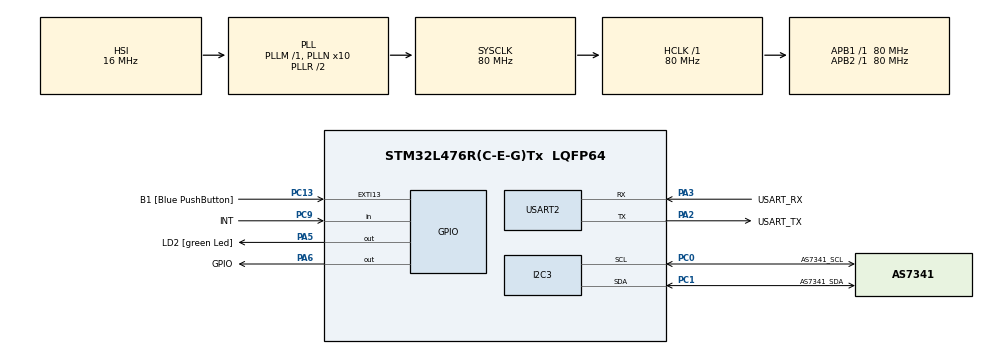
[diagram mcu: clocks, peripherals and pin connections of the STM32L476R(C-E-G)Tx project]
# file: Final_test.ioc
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I2C3.Timing=0x10909CEC
Mcu.Family=STM32L4
Mcu.Name=STM32L476R(C-E-G)Tx
Mcu.Package=LQFP64
NVIC.EXTI15_10_IRQn=true\:0\:0\:false\:false\:true\:true\:true\:true
NVIC.PriorityGroup=NVIC_PRIORITYGROUP_4
NVIC.TIM1_UP_TIM16_IRQn=true\:0\:0\:false\:false\:true\:true\:true\:true
PA13\ (JTMS-SWDIO).GPIO_Label=TMS
PA13\ (JTMS-SWDIO).Mode=Serial_Wire
PA13\ (JTMS-SWDIO).Signal=SYS_JTMS-SWDIO
PA14\ (JTCK-SWCLK).GPIO_Label=TCK
PA14\ (JTCK-SWCLK).Mode=Serial_Wire
PA14\ (JTCK-SWCLK).Signal=SYS_JTCK-SWCLK
PA2.GPIO_Label=USART_TX
PA2.GPIO_Mode=GPIO_MODE_AF_PP
PA2.GPIO_PuPd=GPIO_NOPULL
PA2.GPIO_Speed=GPIO_SPEED_FREQ_VERY_HIGH
PA2.Mode=Asynchronous
PA2.Signal=USART2_TX
PA3.GPIO_Label=USART_RX
PA3.GPIO_Mode=GPIO_MODE_AF_PP
PA3.GPIO_PuPd=GPIO_NOPULL
PA3.GPIO_Speed=GPIO_SPEED_FREQ_VERY_HIGH
PA3.Mode=Asynchronous
PA3.Signal=USART2_RX
PA5.GPIO_Label=LD2 [green Led]
PA5.GPIO_ModeDefaultOutputPP=GPIO_MODE_OUTPUT_PP
PA5.GPIO_PuPd=GPIO_NOPULL
PA5.GPIO_Speed=GPIO_SPEED_FREQ_LOW
PA5.Signal=GPIO_Output
PA6.GPIO_Label=GPIO
PA6.Signal=GPIO_Output
PB3\ (JTDO-TRACESWO).GPIO_Label=SWO
PB3\ (JTDO-TRACESWO).Signal=SYS_JTDO-SWO
PC0.GPIO_Label=AS7341_SCL
PC0.Mode=I2C
PC0.Signal=I2C3_SCL
PC1.GPIO_Label=AS7341_SDA
PC1.Mode=I2C
PC1.Signal=I2C3_SDA
PC13.GPIO_Label=B1 [Blue PushButton]
PC13.GPIO_ModeDefaultEXTI=GPIO_MODE_IT_FALLING
PC13.GPIO_PuPd=GPIO_NOPULL
PC13.Signal=GPXTI13
PC14-OSC32_IN\ (PC14).Mode=LSE-External-Oscillator
PC14-OSC32_IN\ (PC14).Signal=RCC_OSC32_IN
PC15-OSC32_OUT\ (PC15).Mode=LSE-External-Oscillator
PC15-OSC32_OUT\ (PC15).Signal=RCC_OSC32_OUT
PC9.GPIO_Label=INT
PC9.Signal=GPIO_Input
PH0-OSC_IN\ (PH0).Signal=RCC_OSC_IN
PH1-OSC_OUT\ (PH1).Signal=RCC_OSC_OUT
ProjectManager.HeapSize=0x200
ProjectManager.StackSize=0x400
ProjectManager.TargetToolchain=STM32CubeIDE
RCC.ADCFreq_Value=64000000
RCC.AHBFreq_Value=80000000
RCC.APB1Freq_Value=80000000
RCC.APB1TimFreq_Value=80000000
RCC.APB2Freq_Value=80000000
RCC.APB2TimFreq_Value=80000000
RCC.CortexFreq_Value=80000000
RCC.HCLKFreq_Value=80000000
RCC.HSE_VALUE=8000000
RCC.HSI_VALUE=16000000
RCC.MSI_VALUE=4000000
RCC.PLLN=10
RCC.PLLSourceVirtual=RCC_PLLSOURCE_HSI
RCC.PREFETCH_ENABLE=1
RCC.SYSCLKFreq_VALUE=80000000
RCC.SYSCLKSource=RCC_SYSCLKSOURCE_PLLCLK
RCC.USART2CLockSelection=RCC_USART2CLKSOURCE_SYSCLK
RCC.USBFreq_Value=64000000
RCC.VCOOutputFreq_Value=160000000
TIM16.Period=10000-1
TIM16.Prescaler=40000-1
USART2.VirtualMode-Asynchronous=VM_ASYNC
VP_TIM16_VS_ClockSourceINT.Mode=Enable_Timer
board=NUCLEO-L476RG

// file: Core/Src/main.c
/* USER CODE BEGIN Header */
/**
  ******************************************************************************
  * @file           : main.c
  * @brief          : Main program body
  ******************************************************************************
  * @attention
  *
  * Copyright (c) 2023 STMicroelectronics.
  * All rights reserved.
  *
  * This software is licensed under terms that can be found in the LICENSE file
  * in the root directory of this software component.
  * If no LICENSE file comes with this software, it is provided AS-IS.
  *
  ******************************************************************************
  */
/* USER CODE END Header */
#include "main.h"
#include "i2c.h"
#include "tim.h"
#include "usart.h"
#include "gpio.h"

/* USER CODE BEGIN Includes */

#include "inttypes.h"
#include "string.h"
#include "stdio.h"
#include <stdbool.h>

#include "Waveshare_AS7341.h"
#include "DEV_Config.h"

#include "Config_Parameters.h"

/* USER CODE END Includes */

/* USER CODE BEGIN PV */

//uint16_t t_meas;
//uint16_t t_int;
//uint8_t gain;
uint8_t ATIME;
uint16_t ASTEP;

int start_meas, start_meas2, end_meas, tot_meas;
/* USER CODE END PV */

void SystemClock_Config(void);
/* USER CODE BEGIN PFP */

void AS7341_Start();
void AS7341_EnableSleepAfterInterrupt(int flag);
void AS7341_ClearStatus();

/* USER CODE END PFP */

/* USER CODE BEGIN 0 */

#ifdef __GNUC__
#define PUTCHAR_PROTOTYPE int __io_putchar(int ch)
#else
#define PUTCHAR_PROTOTYPE int fputc(int ch, FILE *f)
#endif

PUTCHAR_PROTOTYPE
{
  HAL_UART_Transmit(&huart2, (uint8_t *)&ch, 1, HAL_MAX_DELAY);
  return ch;
}

/* USER CODE END 0 */

int main(void)
{

  /* MCU Configuration--------------------------------------------------------*/

  /* Reset of all peripherals, Initializes the Flash interface and the Systick. */
  HAL_Init();

  /* Configure the system clock */
  SystemClock_Config();

  /* Initialize all configured peripherals */
  MX_GPIO_Init();
  MX_USART2_UART_Init();
  MX_TIM16_Init();
  MX_I2C3_Init();
  /* USER CODE BEGIN 2 */

  HAL_TIM_Base_Start_IT(&htim16);

//  t_meas = 5000; 	//ms, set time between measurements. Options are: 100, 500, 1000, 5000, 10000
//  t_int = 10; 		//ms, set integration time of sensor. Options are: 10, 20, 50, 100, 200, 500, 1000, 2000, else default to 50ms
//  gain = 6; 		// [Value: Gain] = [0: 0.5x, 1:1x, 2:2x, 3:4x, 4:8x, 5:16x, 7:64x, 8:128x, 9:256x, 10:512x

//  if (t_int>t_meas)
//  {
//#define t_meas = 100;
//	  t_int = 50;
//	  printf("t_int>t_meas\r\n");
//  }

  //  AS7341_Start(eSyns, true, t_int, gain, false); //void AS7341_Start(eMode_t MODE, bool INT, uint16_t t_int, uint8_t AGAIN, bool LED);
  AS7341_Start();
  printf("Integration Time: %d \r\nMeasurement Time: %d\r\n",t_int,t_meas);

  printf("Time,Channel1,Channel2,Channel3,Channel4,Channel5,Channel6,Channel7,Channel8,Clear,NIR,t_int,t_meas\r\n");
  /* USER CODE END 2 */

  /* Infinite loop */
  /* USER CODE BEGIN WHILE */
  printf("HI");
  while (1)
  {
    /* USER CODE END WHILE */

    /* USER CODE BEGIN 3 */
//		uint8_t data = I2C_Read_Byte(AS7341_ATIME);
//		printf("ATIME %d\r\n",data);
//		data = I2C_Read_Byte(AS7341_ASTEP_L);
//		printf("ASTEP_L %d\r\n",data);
//		data = I2C_Read_Byte(AS7341_ASTEP_H);
//		printf("ASTEP_H %d\r\n",data);

	  	sModeOneData_t data1;
		sModeTwoData_t data2;

		AS7341_ClearInterrupt();// Interrupt must be cleared

//		start_meas = HAL_GetTick();
		AS7341_startMeasure(eF1F4ClearNIR);
//		start_meas2 = HAL_GetTick();
		AS7341_startMeasure(eF5F8ClearNIR);

		while(!AS7341_MeasureComplete()); // wait for measurement to finish
//		end_meas = HAL_GetTick();
//		tot_meas = end_meas- start_meas;
//		printf("Total measurement time: %d\r\n", tot_meas);
//		tot_meas = end_meas- start_meas2;
//		printf("Total measurement time 2: %d\r\n", tot_meas);
		data1 = AS7341_ReadSpectralDataOne();
		data2 =AS7341_ReadSpectralDataTwo();
		printf("%d,%d,%d,%d,%d,%d,%d,%d,%d,%d,%d,%d \r\n", data1.channel1, data1.channel2, data1.channel3, data1.channel4, data2.channel5, data2.channel6, data2.channel7, data2.channel8, data2.CLEAR, data2.NIR, t_int, t_meas);
//		end_meas = HAL_GetTick();
//		tot_meas = end_meas- start_meas;
//		printf("Total measurement and transmission time: %d\r\n", tot_meas);
//		printf("------------------------------------------------------\r\n");
  }
  /* USER CODE END 3 */
}

void SystemClock_Config(void)
{
  RCC_OscInitTypeDef RCC_OscInitStruct = {0};
  RCC_ClkInitTypeDef RCC_ClkInitStruct = {0};

  /** Configure the main internal regulator output voltage
  */
  if (HAL_PWREx_ControlVoltageScaling(PWR_REGULATOR_VOLTAGE_SCALE1) != HAL_OK)
  {
    Error_Handler();
  }

  /** Initializes the RCC Oscillators according to the specified parameters
  * in the RCC_OscInitTypeDef structure.
  */
  RCC_OscInitStruct.OscillatorType = RCC_OSCILLATORTYPE_HSI;
  RCC_OscInitStruct.HSIState = RCC_HSI_ON;
  RCC_OscInitStruct.HSICalibrationValue = RCC_HSICALIBRATION_DEFAULT;
  RCC_OscInitStruct.PLL.PLLState = RCC_PLL_ON;
  RCC_OscInitStruct.PLL.PLLSource = RCC_PLLSOURCE_HSI;
  RCC_OscInitStruct.PLL.PLLM = 1;
  RCC_OscInitStruct.PLL.PLLN = 10;
  RCC_OscInitStruct.PLL.PLLP = RCC_PLLP_DIV7;
  RCC_OscInitStruct.PLL.PLLQ = RCC_PLLQ_DIV2;
  RCC_OscInitStruct.PLL.PLLR = RCC_PLLR_DIV2;
  if (HAL_RCC_OscConfig(&RCC_OscInitStruct) != HAL_OK)
  {
    Error_Handler();
  }

  /** Initializes the CPU, AHB and APB buses clocks
  */
  RCC_ClkInitStruct.ClockType = RCC_CLOCKTYPE_HCLK|RCC_CLOCKTYPE_SYSCLK
                              |RCC_CLOCKTYPE_PCLK1|RCC_CLOCKTYPE_PCLK2;
  RCC_ClkInitStruct.SYSCLKSource = RCC_SYSCLKSOURCE_PLLCLK;
  RCC_ClkInitStruct.AHBCLKDivider = RCC_SYSCLK_DIV1;
  RCC_ClkInitStruct.APB1CLKDivider = RCC_HCLK_DIV1;
  RCC_ClkInitStruct.APB2CLKDivider = RCC_HCLK_DIV1;

  if (HAL_RCC_ClockConfig(&RCC_ClkInitStruct, FLASH_LATENCY_4) != HAL_OK)
  {
    Error_Handler();
  }
}

/* USER CODE BEGIN 4 */

/******************************************************************************
function:	Configure AS7341
info：		Set the sensing mode, enable or disable interrupts, set integration
			time, sensor gain and enable/disable LED.
******************************************************************************/
void AS7341_Start()
{
	printf("Configuring AS7341");
	DEV_ModuleInit();

	AS7341_Init(MODE);
	AS7341_EnableSpectralInterrupt(INT);
	AS7341_AGAIN_config(AGAIN);
	AS7341_EnableLED(LED);

	//t_int = (ATIME + 1)*(ASTEP + 1)*2.78e-6
	//max t_int = 50s
	switch(t_int)
	{
	case 10:
		ATIME = 29;
		ASTEP = 119;
		break;
	case 20:
		ATIME = 29;
		ASTEP = 239;
		break;
	case 50:
		ATIME = 29;
		ASTEP = 599;
		break;
	case 100:
		ATIME = 59;
		ASTEP = 599;
		break;
	case 200:
		ATIME = 59;
		ASTEP = 1198;
		break;
	case 500:
		ATIME = 59;
		ASTEP = 2997;
		break;
	case 1000:
		ATIME = 39;
		ASTEP = 8992;
		break;
	case 2000:
		ATIME = 29;
		ASTEP = 23980;
		break;
	default:
		ATIME = 29;
		ASTEP = 599;
		break;
	}

	AS7341_ATIME_config(ATIME);
	AS7341_ASTEP_config(ASTEP);
	printf("Configuring AS7341 done\r\n ------------------------\r\n");
}

/******************************************************************************
function:	clear status
info：		This register is self-clearing, meaning that writing a "1" to any bit in the
	register clears that status bit.
******************************************************************************/
void AS7341_ClearStatus()
{

//  I2C_Write_Byte(AS7341_STATUS_6,0xff);
	UBYTE data;
	data = I2C_Read_Byte(AS7341_CONTROL);
	data = data | (1);
	I2C_Write_Byte(AS7341_CONTROL,data);
}

/******************************************************************************
function:	enable sleep after interrupt
info：
******************************************************************************/
void AS7341_EnableSleepAfterInterrupt(int flag)
{
  UBYTE data;
  data = I2C_Read_Byte(AS7341_CFG_3);
  if(flag == true)
  {
    data = data | (1<<4);
    I2C_Write_Byte(AS7341_CFG_3,data);
  }
  else{
    data = data & (~(1<<4));
    I2C_Write_Byte(AS7341_CFG_3,data);
  }
}

/******************************************************************************
function:	Toggle pins when timer has rolled over
info：		Callback: timer as rolled over. Toggle LED and GPIO output
******************************************************************************/
void HAL_TIM_PeriodElapsedCallback(TIM_HandleTypeDef *htim)
{
  // Check which version of the timer triggered this callback and toggle LED
  if (htim == &htim16 )
  {
	  HAL_GPIO_TogglePin(GPIOA, GPIO_Pin);
	  HAL_GPIO_TogglePin(GPIOA, LD2_Pin);
  }
  switch(t_meas)
    {
    case(100):
		TIM16->ARR = 100-1;
    	  break;
    case(500):
		TIM16->ARR = 500-1;
    	  break;
    case(1000):
		TIM16->ARR = 1000-1;
    	  break;
    case(5000):
		TIM16->ARR = 5000-1;
    	  break;
    case(10000):
		TIM16->ARR = 10000-1;
    	  break;
    }
}
/* USER CODE END 4 */

void Error_Handler(void)
{
  __disable_irq();
  while (1)
  {
  }
}
